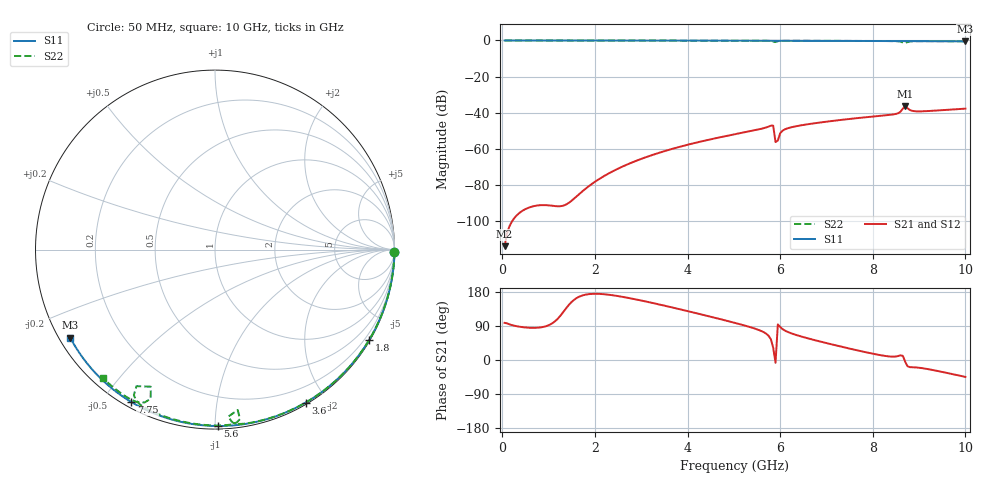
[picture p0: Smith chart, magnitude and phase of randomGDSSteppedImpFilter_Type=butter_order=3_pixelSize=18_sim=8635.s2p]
! freq	dB(S11)	phase(S11)	dB(S12)	phase(S12)
!  dB(S21)	phase(S21)	dB(S22)	phase(S22)
!S-par simulation data
#  GHz  S  DB  R 50
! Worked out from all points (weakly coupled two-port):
!   200 points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, 50 MHz to 10 GHz, reference 50 ohm
!   highest |S21| = -36.46 dB at 8.7 GHz (marker M1); lowest = -114.1 dB at 50 MHz (marker M2)
!   lowest |S11| = -0.5 dB at 10 GHz (marker M3), VSWR 34.70, Z = 1.55 - j14 ohm
!   |S11| at or under -10 dB: nowhere
!   |S22| runs from -1.5 to 0.0 dB; largest |S21 - S12| = 0
!   S11 on the Smith chart (normalised r, x): 50 MHz: open; 1.8 GHz: 0.03, -3.68; 3.6 GHz: 0.02, -1.76; 5.6 GHz: 0.02, -1.02; 7.75 GHz: 0.02, -0.59; 10 GHz: 0.03, -0.28
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0.05  -0.00 -0.9  -114.08 98.0  -114.08 98.0  -0.00 -0.8
1.75  -0.04 -29.6  -83.23 171.0  -83.23 171.0  -0.03 -26.3
1.8  -0.04 -30.4  -82.18 172.5  -82.18 172.5  -0.03 -27.0
1.9  -0.04 -32.0  -80.21 174.2  -80.21 174.2  -0.04 -28.5
2.7  -0.06 -45.1  -68.75 164.4  -68.75 164.4  -0.05 -40.1
3.4  -0.07 -56.2  -62.18 146.3  -62.18 146.3  -0.07 -50.1
3.6  -0.08 -59.3  -60.63 140.6  -60.63 140.6  -0.07 -52.9
5.05  -0.12 -81.1  -51.87 97.1  -51.87 97.1  -0.11 -72.7
5.6  -0.15 -89.1  -48.95 76.1  -48.95 76.1  -0.14 -80.3
5.85  -0.16 -92.6  -47.25 32.4  -47.25 32.4  -0.59 -85.5
5.9  -0.16 -93.4  -56.33 -7.5  -56.33 -7.5  -0.89 -82.0
5.95  -0.16 -94.1  -55.50 93.9  -55.50 93.9  -0.41 -81.6
6  -0.17 -94.8  -51.47 87.2  -51.47 87.2  -0.26 -82.9
6.1  -0.17 -96.2  -49.32 77.8  -49.32 77.8  -0.19 -84.9
6.7  -0.20 -104.5  -46.07 53.9  -46.07 53.9  -0.19 -93.1
7.75  -0.28 -118.7  -42.84 23.1  -42.84 23.1  -0.25 -106.1
8.35  -0.33 -126.7  -41.30 9.5  -41.30 9.5  -0.32 -114.0
8.55  -0.34 -129.4  -40.33 10.5  -40.33 10.5  -0.48 -117.8
8.7  -0.36 -131.4  -36.46 -4.5  -36.46 -4.5  -1.48 -115.1
8.8  -0.37 -132.7  -38.56 -18.8  -38.56 -18.8  -0.57 -114.7
8.95  -0.38 -134.7  -39.32 -19.7  -39.32 -19.7  -0.39 -118.0
10  -0.50 -148.7  -37.81 -44.7  -37.81 -44.7  -0.45 -131.2
